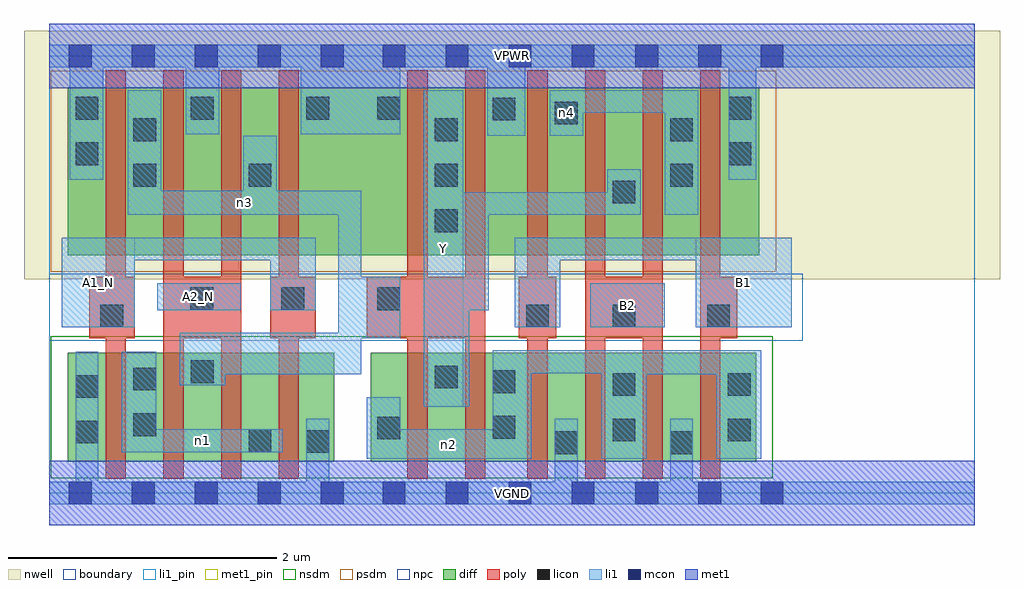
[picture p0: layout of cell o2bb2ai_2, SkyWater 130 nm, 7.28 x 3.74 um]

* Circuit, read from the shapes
.subckt o2bb2ai_2 A1_N A2_N B1 B2 VGND VPWR Y n1 n2 n3 n4
XM1 n1 A1_N VGND VSUBS sky130_fd_pr__nfet_01v8 w=0.81 l=0.15 m=2
XM2 n3 A2_N n1 VSUBS sky130_fd_pr__nfet_01v8 w=0.81 l=0.15 m=2
XM3 Y n3 n2 VSUBS sky130_fd_pr__nfet_01v8 w=0.81 l=0.15 m=2
XM4 VGND B1 n2 VSUBS sky130_fd_pr__nfet_01v8 w=0.81 l=0.15 m=2
XM5 n2 B2 VGND VSUBS sky130_fd_pr__nfet_01v8 w=0.81 l=0.15 m=2
XM6 n3 A1_N VPWR n5 sky130_fd_pr__pfet_01v8 w=1.25 l=0.15 m=2
XM7 VPWR A2_N n3 n5 sky130_fd_pr__pfet_01v8 w=1.25 l=0.15 m=2
XM8 Y n3 VPWR n5 sky130_fd_pr__pfet_01v8 w=1.25 l=0.15 m=2
XM9 n4 B1 VPWR n5 sky130_fd_pr__pfet_01v8 w=1.25 l=0.15 m=2
XM10 Y B2 n4 n5 sky130_fd_pr__pfet_01v8 w=1.25 l=0.15 m=2
.ends

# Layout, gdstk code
import gdstk
lib = gdstk.Library(unit=1e-6, precision=1e-09)
def R(c, l, rs):  # rectangles x0, y0, x1, y1
    for r in rs: c.add(gdstk.rectangle(r[:2], r[2:], *l))
def A(c, l, x, y, w, h, nx, ny, dx, dy):  # array of equal rectangles
    R(c, l, [(x+i*dx, y+j*dy, x+i*dx+w, y+j*dy+h) for i in range(nx) for j in range(ny)])
nwell = (64, 20)
diff = (65, 20)
poly = (66, 20)
licon = (66, 44)
li1_pin = (67, 16)
li1 = (67, 20)
mcon = (67, 44)
met1_pin = (68, 16)
met1 = (68, 20)
nsdm = (93, 44)
psdm = (94, 20)
npc = (95, 20)
boundary = (235, 4)

o2bb2ai_2 = lib.new_cell('o2bb2ai_2')
R(o2bb2ai_2, nwell, [(-0.19,1.595,7.09,3.45), (0,1.595,6.9,3.45)])
R(o2bb2ai_2, diff, [(0.135,0.235,2.125,1.045), (2.395,0.235,5.27,1.045), (0.135,1.775,5.295,3.025)])
A(o2bb2ai_2, poly, 0.42, 0.105, 0.15, 3.05, 4, 1, 0.43, 0)
A(o2bb2ai_2, poly, 3.565, 0.105, 0.15, 3.05, 4, 1, 0.43, 0)
R(o2bb2ai_2, poly, [(2.67,0.105,2.82,3.155), (3.1,0.105,3.25,3.155), (0.295,1.155,0.635,1.615), (0.85,1.155,1.43,1.615), (1.645,1.155,1.985,1.615), (2.365,1.155,3.25,1.615), (3.5,1.155,3.78,1.615), (3.995,1.155,4.575,1.615), (4.855,1.155,5.13,1.615)])
A(o2bb2ai_2, licon, 2.875, 1.945, 0.17, 0.17, 1, 3, 0, 0.34)
A(o2bb2ai_2, licon, 0.195, 2.785, 0.17, 0.17, 3, 1, 0.86, 0)
R(o2bb2ai_2, licon, [(3.77,0.29,3.94,0.46), (4.63,0.29,4.8,0.46), (1.915,0.3,2.085,0.47), (1.485,0.305,1.655,0.475), (0.195,0.37,0.365,0.54), (4.2,0.385,4.37,0.555), (5.06,0.385,5.23,0.555), (2.445,0.4,2.615,0.57), (3.305,0.405,3.475,0.575), (0.625,0.425,0.795,0.595), (0.195,0.71,0.365,0.88), (4.2,0.725,4.37,0.895), (5.06,0.725,5.23,0.895), (3.305,0.745,3.475,0.915), (0.625,0.765,0.795,0.935), (2.875,0.78,3.045,0.95), (1.055,0.82,1.225,0.99), (0.38,1.235,0.55,1.405), (3.555,1.235,3.725,1.405), (4.2,1.235,4.37,1.405), (4.905,1.235,5.075,1.405), (1.05,1.365,1.22,1.535), (1.73,1.365,1.9,1.535), (2.445,1.365,2.615,1.535), (4.2,2.16,4.37,2.33), (0.625,2.285,0.795,2.455), (1.485,2.285,1.655,2.455), (4.63,2.285,4.8,2.455), (0.195,2.445,0.365,2.615), (5.065,2.445,5.235,2.615), (0.625,2.625,0.795,2.795), (4.63,2.625,4.8,2.795), (3.77,2.75,3.94,2.92), (3.305,2.78,3.475,2.95), (2.445,2.785,2.615,2.955), (5.065,2.785,5.235,2.955)])
R(o2bb2ai_2, li1_pin, [(2.79,0.645,3.085,3.005), (0.09,1.235,0.635,1.905), (4.035,1.235,4.59,1.565), (4.82,1.235,5.535,1.905), (0.805,1.365,1.425,1.565)])
R(o2bb2ai_2, li1, [(0,-0.085,6.9,0.085), (0.195,-0.085,0.365,1.055), (1.915,-0.085,2.085,0.555), (3.77,-0.085,3.94,0.555), (4.63,-0.085,4.8,0.555), (2.365,0.255,3.595,0.475), (2.365,0.255,2.615,0.715), (3.305,0.255,3.595,1.065), (4.115,0.255,4.455,1.065), (4.975,0.255,5.31,1.065), (0.54,0.305,1.74,0.475), (0.54,0.305,0.795,1.055), (2.79,0.645,3.085,3.005), (2.79,0.645,3.13,2.245), (0.97,0.805,1.31,1.195), (0.97,0.885,2.325,1.195), (2.155,0.885,2.325,2.255), (4.115,0.885,5.31,1.065), (3.305,0.895,5.31,1.065), (2.155,1.155,2.615,1.615), (0.09,1.235,0.635,1.905), (3.47,1.235,3.81,1.905), (4.035,1.235,4.59,1.565), (4.82,1.235,5.535,1.905), (0.805,1.365,1.425,1.565), (1.645,1.365,1.985,1.905), (2.79,1.365,3.275,2.075), (0.09,1.735,1.985,1.905), (3.47,1.735,5.535,1.905), (0.585,2.075,2.325,2.255), (0.585,2.075,0.835,3.005), (1.445,2.075,1.695,2.665), (2.79,2.075,4.41,2.245), (4.16,2.075,4.41,2.415), (4.59,2.075,4.84,3.005), (0.15,2.335,0.4,3.345), (5.065,2.335,5.27,3.345), (3.265,2.665,3.55,3.345), (3.73,2.665,3.98,3.005), (1.015,2.675,1.265,3.345), (1.875,2.675,2.615,3.345), (3.73,2.835,4.84,3.005), (0,3.175,6.9,3.345)])
A(o2bb2ai_2, mcon, 0.145, -0.085, 0.17, 0.17, 5, 2, 0.47, 3.26)
A(o2bb2ai_2, mcon, 2.485, -0.085, 0.17, 0.17, 4, 2, 0.47, 3.26)
R(o2bb2ai_2, mcon, [(4.37,-0.085,4.54,0.085), (4.84,-0.085,5.01,0.085), (5.305,-0.085,5.475,0.085), (4.37,3.175,4.54,3.345), (4.84,3.175,5.01,3.345), (5.305,3.175,5.475,3.345)])
R(o2bb2ai_2, met1_pin, [(0,-0.24,6.9,0.24), (0,3.02,6.9,3.5)])
R(o2bb2ai_2, met1, [(0,-0.24,6.9,0.24), (0,3.02,6.9,3.5)])
R(o2bb2ai_2, nsdm, [(0.01,0.11,5.395,1.17)])
R(o2bb2ai_2, psdm, [(0.01,1.65,5.42,3.15)])
R(o2bb2ai_2, npc, [(0,1.135,5.62,1.635)])
R(o2bb2ai_2, boundary, [(0,0,6.9,3.26)])
o2bb2ai_2.add(gdstk.Label('A1_N', (0.362,1.57), layer=67, texttype=5))
o2bb2ai_2.add(gdstk.Label('A2_N', (1.115,1.465), layer=67, texttype=5))
o2bb2ai_2.add(gdstk.Label('B1', (5.177,1.57), layer=67, texttype=5))
o2bb2ai_2.add(gdstk.Label('B2', (4.312,1.4), layer=67, texttype=5))
o2bb2ai_2.add(gdstk.Label('Y', (2.937,1.825), layer=67, texttype=5))
o2bb2ai_2.add(gdstk.Label('n1', (1.14,0.39), layer=67, texttype=5))
o2bb2ai_2.add(gdstk.Label('n2', (2.98,0.365), layer=67, texttype=5))
o2bb2ai_2.add(gdstk.Label('n3', (1.455,2.165), layer=67, texttype=5))
o2bb2ai_2.add(gdstk.Label('n4', (3.855,2.835), layer=67, texttype=5))
o2bb2ai_2.add(gdstk.Label('VPWR', (3.45,3.26), layer=68, texttype=5))
o2bb2ai_2.add(gdstk.Label('VGND', (3.45,0), layer=68, texttype=5))
o2bb2ai_2.add(gdstk.Label('A1_N', (0.362,1.57), layer=67, texttype=16))
o2bb2ai_2.add(gdstk.Label('A2_N', (1.115,1.465), layer=67, texttype=16))
o2bb2ai_2.add(gdstk.Label('B1', (5.177,1.57), layer=67, texttype=16))
o2bb2ai_2.add(gdstk.Label('B2', (4.312,1.4), layer=67, texttype=16))
o2bb2ai_2.add(gdstk.Label('Y', (2.937,1.825), layer=67, texttype=16))
o2bb2ai_2.add(gdstk.Label('VPWR', (3.45,3.26), layer=68, texttype=16))
o2bb2ai_2.add(gdstk.Label('VGND', (3.45,0), layer=68, texttype=16))

lib.write_gds('o2bb2ai_2.gds')
